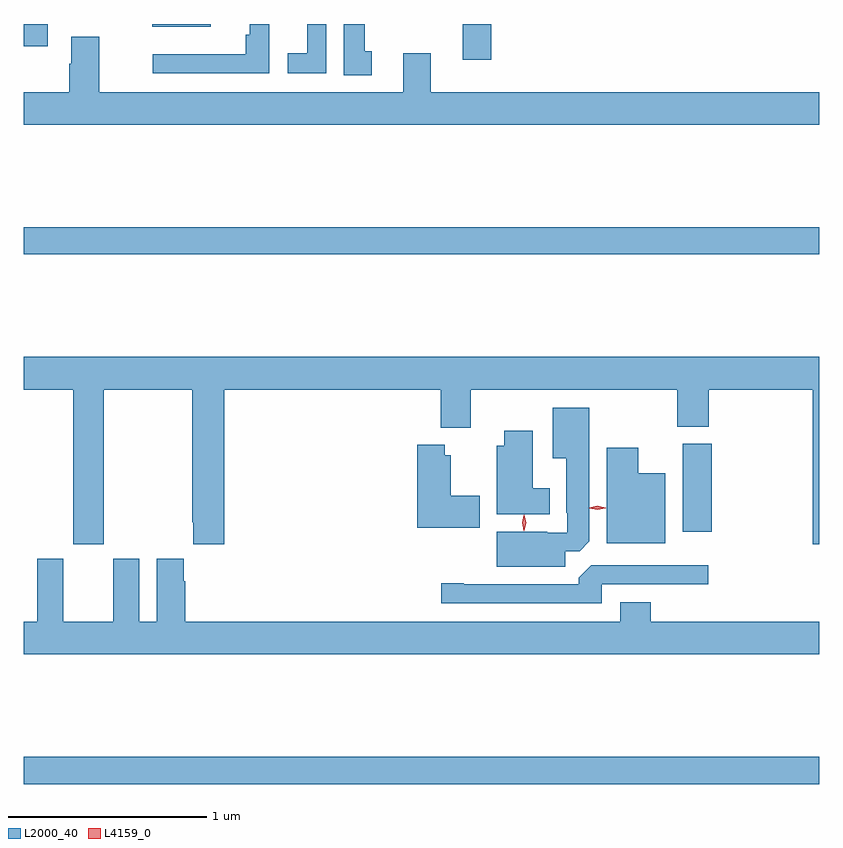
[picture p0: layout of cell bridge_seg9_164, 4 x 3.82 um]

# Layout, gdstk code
import gdstk
lib = gdstk.Library(unit=1e-6, precision=1e-09)
def R(c, l, rs):  # rectangles x0, y0, x1, y1
    for r in rs: c.add(gdstk.rectangle(r[:2], r[2:], *l))
def P(c, l, *ps):  # polygons
    for p in ps: c.add(gdstk.Polygon(p, *l))
L2000_40 = (2000, 40)
L4159_0 = (4159, 0)

bridge_seg9_164 = lib.new_cell('bridge_seg9_164')
R(bridge_seg9_164, L2000_40, [(275.256,1231.732,279.256,1231.868), (278.57,1233,278.717,1233.444), (275.256,1234.396,279.256,1234.532), (277.463,1235.376,277.607,1235.555), (275.256,1235.442,275.376,1235.555), (275.901,1235.54,276.196,1235.555)])
P(bridge_seg9_164, L2000_40, [(276.777,1235.555),(276.681,1235.555),(276.681,1235.408),(276.582,1235.408),(276.582,1235.307),(276.777,1235.307)],
  [(277.006,1235.418),(276.97,1235.418),(276.97,1235.555),(276.866,1235.555),(276.866,1235.298),(277.006,1235.298)],
  [(276.489,1235.555),(276.392,1235.555),(276.392,1235.5),(276.373,1235.5),(276.373,1235.404),(275.904,1235.404),(275.904,1235.307),(276.489,1235.307)],
  [(279.256,1235.212),(277.303,1235.212),(277.303,1235.407),(277.163,1235.407),(277.163,1235.212),(275.635,1235.212),(275.635,1235.491),(275.495,1235.491),(275.495,1235.354),(275.483,1235.354),(275.483,1235.212),(275.256,1235.212),(275.256,1235.048),(279.256,1235.048)],
  [(275.658,1233.716),(276.103,1233.716),(276.103,1233.049),(276.107,1233.049),(276.107,1232.937),(276.263,1232.937),(276.263,1233.716),(277.352,1233.716),(277.352,1233.524),(277.504,1233.524),(277.504,1233.716),(278.542,1233.716),(278.542,1233.529),(278.702,1233.529),(278.702,1233.716),(279.224,1233.716),(279.224,1232.937),(279.256,1232.937),(279.256,1233.88),(275.256,1233.88),(275.256,1233.716),(275.503,1233.716),(275.503,1232.937),(275.658,1232.937)],
  [(277.978,1232.904),(278.052,1232.904),(278.101,1232.953),(278.101,1233.625),(277.916,1233.625),(277.916,1233.371),(277.985,1233.371),(277.985,1233.097),(277.989,1233.097),(277.989,1232.997),(277.889,1232.997),(277.889,1233.001),(277.634,1233.001),(277.634,1232.825),(277.978,1232.825)],
  [(277.9,1233.22),(277.816,1233.22),(277.816,1233.508),(277.673,1233.508),(277.673,1233.433),(277.634,1233.433),(277.634,1233.089),(277.9,1233.089)],
  [(277.549,1233.183),(277.402,1233.183),(277.402,1233.385),(277.372,1233.385),(277.372,1233.439),(277.235,1233.439),(277.235,1233.02),(277.549,1233.02)],
  [(278.482,1233.295),(278.347,1233.295),(278.347,1233.424),(278.189,1233.424),(278.189,1232.942),(278.482,1232.942)],
  [(279.256,1232.548),(278.408,1232.548),(278.408,1232.647),(278.255,1232.647),(278.255,1232.548),(276.068,1232.548),(276.068,1232.753),(276.061,1232.753),(276.061,1232.866),(275.924,1232.866),(275.924,1232.548),(275.836,1232.548),(275.836,1232.866),(275.705,1232.866),(275.705,1232.548),(275.455,1232.548),(275.455,1232.866),(275.324,1232.866),(275.324,1232.548),(275.256,1232.548),(275.256,1232.384),(279.256,1232.384)],
  [(278.163,1232.736),(278.698,1232.736),(278.698,1232.832),(278.109,1232.832),(278.048,1232.77),(278.048,1232.736),(277.468,1232.736),(277.468,1232.741),(277.356,1232.741),(277.356,1232.64),(278.163,1232.64)])
P(bridge_seg9_164, L4159_0, [(278.141,1233.111),(278.1,1233.12),(278.1,1233.121),(278.1,1233.121),(278.141,1233.131),(278.182,1233.121),(278.182,1233.121),(278.182,1233.12)],
  [(277.771,1233.005),(277.762,1233.045),(277.771,1233.085),(277.772,1233.086),(277.772,1233.085),(277.782,1233.045),(277.772,1233.005),(277.772,1233.005)])

lib.write_gds('bridge_seg9_164.gds')
